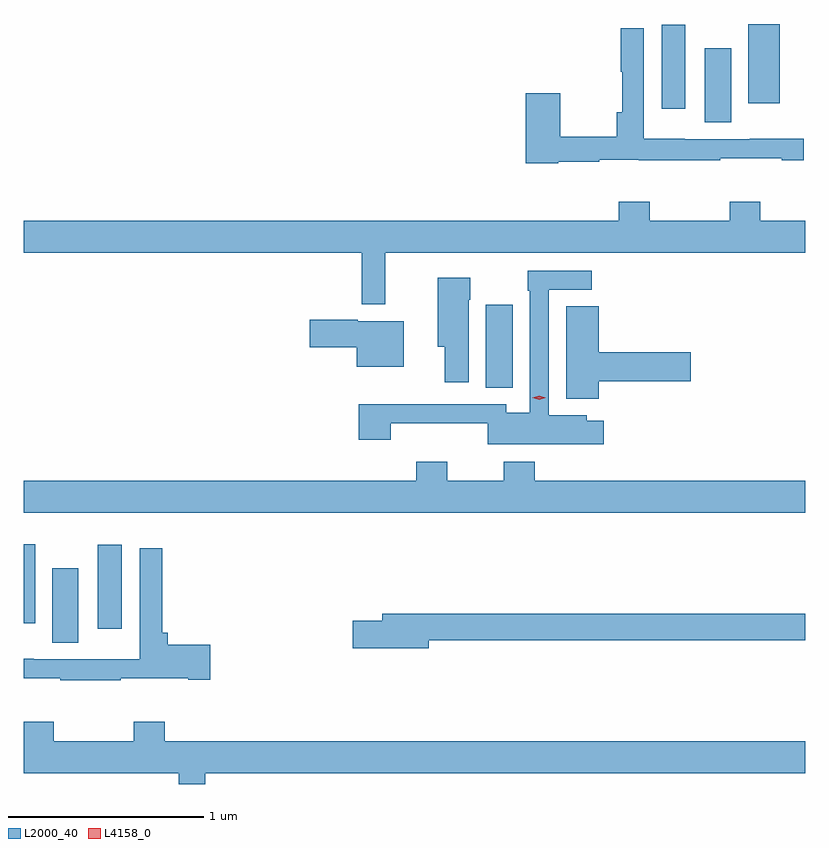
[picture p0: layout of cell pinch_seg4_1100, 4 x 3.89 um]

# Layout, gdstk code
import gdstk
lib = gdstk.Library(unit=1e-6, precision=1e-09)
def R(c, l, rs):  # rectangles x0, y0, x1, y1
    for r in rs: c.add(gdstk.rectangle(r[:2], r[2:], *l))
def P(c, l, *ps):  # polygons
    for p in ps: c.add(gdstk.Polygon(p, *l))
L2000_40 = (2000, 40)
L4158_0 = (4158, 0)

pinch_seg4_1100 = lib.new_cell('pinch_seg4_1100')
R(pinch_seg4_1100, L2000_40, [(398.894,792.16,399.028,792.541), (399.128,792.231,399.25,792.661), (398.749,792.258,398.806,792.664), (401.114,793.465,401.251,793.891), (402.236,794.824,402.37,795.205), (402.014,794.895,402.136,795.325), (402.458,794.922,402.619,795.328)])
P(pinch_seg4_1100, L2000_40, [(401.484,794.622),(401.696,794.622),(401.696,794.633),(401.898,794.633),(401.898,794.631),(402.314,794.631),(402.314,794.641),(402.629,794.641),(402.629,794.631),(402.742,794.631),(402.742,794.741),(402.466,794.741),(402.466,794.739),(402.132,794.739),(402.132,794.74),(401.922,794.74),(401.922,795.307),(401.806,795.307),(401.806,795.083),(401.814,795.083),(401.814,794.875),(401.785,794.875),(401.785,794.75),(401.496,794.75),(401.496,794.974),(401.318,794.974),(401.318,794.614),(401.484,794.614)],
  [(400.598,794.156),(402.749,794.156),(402.749,794.32),(402.519,794.32),(402.519,794.419),(402.364,794.419),(402.364,794.32),(401.955,794.32),(401.955,794.419),(401.795,794.419),(401.795,794.32),(398.749,794.32),(398.749,794.156),(400.478,794.156),(400.478,793.893),(400.598,793.893)],
  [(401.719,793.297),(401.631,793.297),(401.631,793.324),(401.436,793.324),(401.436,793.968),(401.656,793.968),(401.656,794.064),(401.328,794.064),(401.328,793.961),(401.34,793.961),(401.34,793.336),(401.22,793.336),(401.22,793.38),(400.711,793.38),(400.711,793.382),(400.463,793.382),(400.463,793.2),(400.628,793.2),(400.628,793.283),(401.124,793.283),(401.124,793.175),(401.719,793.175)],
  [(401.026,793.916),(401.034,793.916),(401.034,794.029),(400.868,794.029),(400.868,793.676),(400.904,793.676),(400.904,793.494),(401.026,793.494)],
  [(401.692,793.499),(402.163,793.499),(402.163,793.646),(401.692,793.646),(401.692,793.883),(401.525,793.883),(401.525,793.409),(401.692,793.409)],
  [(400.693,793.807),(400.458,793.807),(400.458,793.814),(400.212,793.814),(400.212,793.673),(400.454,793.673),(400.454,793.574),(400.693,793.574)],
  [(402.749,792.988),(401.366,792.988),(401.366,793.087),(401.206,793.087),(401.206,792.988),(400.917,792.988),(400.917,793.087),(400.757,793.087),(400.757,792.988),(398.749,792.988),(398.749,792.824),(402.749,792.824)],
  [(399.245,791.977),(399.59,791.977),(399.59,791.971),(399.703,791.971),(399.703,792.149),(399.485,792.149),(399.485,792.211),(399.458,792.211),(399.458,792.643),(399.342,792.643),(399.342,792.076),(399.132,792.076),(399.132,792.075),(398.798,792.075),(398.798,792.077),(398.749,792.077),(398.749,791.977),(398.935,791.977),(398.935,791.967),(399.245,791.967)],
  [(400.822,792.172),(402.749,792.172),(402.749,792.308),(400.583,792.308),(400.583,792.272),(400.434,792.272),(400.434,792.13),(400.822,792.13)],
  [(399.677,791.492),(402.749,791.492),(402.749,791.656),(399.47,791.656),(399.47,791.755),(399.31,791.755),(399.31,791.656),(398.901,791.656),(398.901,791.755),(398.749,791.755),(398.749,791.492),(399.541,791.492),(399.541,791.436),(399.677,791.436)])
P(pinch_seg4_1100, L4158_0, [(401.388,793.404),(401.353,793.414),(401.353,793.414),(401.353,793.415),(401.388,793.424),(401.422,793.413),(401.422,793.413),(401.422,793.413)])

lib.write_gds('pinch_seg4_1100.gds')
